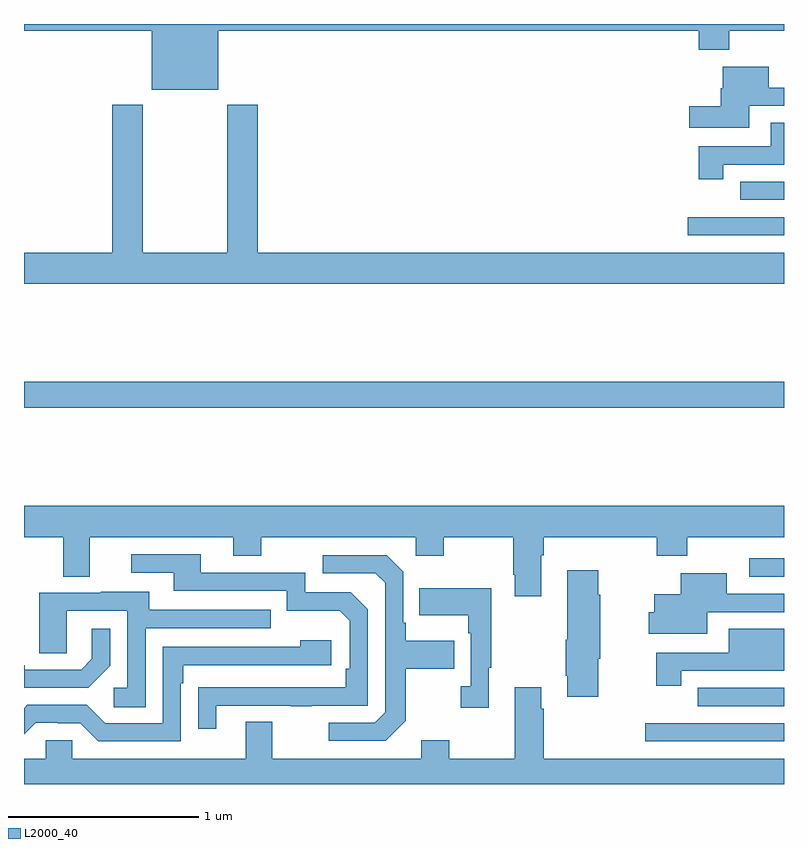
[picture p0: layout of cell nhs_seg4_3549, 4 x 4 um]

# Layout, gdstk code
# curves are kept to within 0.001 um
import gdstk
lib = gdstk.Library(unit=1e-6, precision=1e-09)
def R(c, l, rs):  # rectangles x0, y0, x1, y1
    for r in rs: c.add(gdstk.rectangle(r[:2], r[2:], *l))
def P(c, l, *ps):  # polygons
    for p in ps: c.add(gdstk.Polygon(p, *l))
L2000_40 = (2000, 40)

nhs_seg4_3549 = lib.new_cell('nhs_seg4_3549')
R(nhs_seg4_3549, L2000_40, [(302.271,749.124,303,749.22), (302.547,749.31,303,749.406), (302.817,749.991,303,750.088), (299,750.88,303,751.016), (302.493,751.788,303,751.884), (302.769,751.974,303,752.07)])
P(nhs_seg4_3549, L2000_40, [(300.022,752.864),(302.552,752.864),(302.552,752.765),(302.712,752.765),(302.712,752.864),(303,752.864),(303,752.9),(299,752.9),(299,752.864),(299.672,752.864),(299.672,752.555),(300.022,752.555)],
  [(302.818,752.469),(303,752.469),(303,752.565),(302.92,752.565),(302.92,752.674),(302.678,752.674),(302.678,752.562),(302.666,752.562),(302.666,752.468),(302.502,752.468),(302.502,752.354),(302.818,752.354)],
  [(303,751.696),(300.23,751.696),(300.23,752.476),(300.07,752.476),(300.07,751.696),(299.625,751.696),(299.625,752.476),(299.465,752.476),(299.465,751.696),(299,751.696),(299,751.532),(303,751.532)],
  [(302.68,752.16),(303,752.16),(303,752.38),(302.93,752.38),(302.93,752.256),(302.55,752.256),(302.55,752.082),(302.68,752.082)],
  [(299,750.2),(299.207,750.2),(299.207,749.992),(299.347,749.992),(299.347,750.2),(300.101,750.2),(300.101,750.101),(300.249,750.101),(300.249,750.2),(301.062,750.2),(301.062,750.101),(301.209,750.101),(301.209,750.2),(301.576,750.2),(301.576,750.001),(301.583,750.001),(301.583,749.889),(301.723,749.889),(301.723,750.104),(301.736,750.104),(301.736,750.2),(302.33,750.2),(302.33,750.101),(302.49,750.101),(302.49,750.2),(303,750.2),(303,750.364),(299,750.364)],
  [(300.013,749.313),(300.403,749.313),(300.403,749.308),(300.515,749.308),(300.515,749.313),(300.81,749.313),(300.81,749.82),(300.72,749.91),(300.48,749.91),(300.48,750.012),(299.929,750.012),(299.929,750.108),(299.565,750.108),(299.565,750.012),(299.789,750.012),(299.789,749.916),(300.384,749.916),(300.384,749.813),(300.661,749.813),(300.714,749.76),(300.714,749.506),(300.694,749.506),(300.694,749.409),(299.917,749.408),(299.917,749.19),(300.013,749.19)],
  [(301.009,749.233),(301.009,749.506),(301.265,749.506),(301.265,749.653),(301.009,749.653),(301.009,749.749),(300.996,749.749),(300.996,750.018),(300.909,750.105),(300.573,750.105),(300.573,750.009),(300.849,750.009),(300.9,749.958),(300.9,749.277),(300.846,749.223),(300.603,749.223),(300.603,749.127),(300.903,749.127)],
  [(302.022,749.559),(302.032,749.559),(302.032,749.895),(302.022,749.895),(302.022,750.025),(301.859,750.025),(301.859,749.659),(301.852,749.659),(301.852,749.47),(301.859,749.47),(301.859,749.358),(302.022,749.358)],
  [(302.596,749.805),(303,749.805),(303,749.901),(302.698,749.901),(302.698,750.01),(302.456,750.01),(302.456,749.899),(302.318,749.899),(302.318,749.804),(302.288,749.804),(302.288,749.69),(302.596,749.69)],
  [(301.447,749.513),(301.459,749.513),(301.459,749.929),(301.081,749.929),(301.081,749.789),(301.338,749.789),(301.338,749.693),(301.35,749.693),(301.35,749.414),(301.299,749.414),(301.299,749.301),(301.447,749.301)],
  [(299.64,749.721),(300.299,749.721),(300.299,749.817),(299.659,749.817),(299.659,749.911),(299.405,749.911),(299.405,749.907),(299.081,749.907),(299.081,749.587),(299.226,749.587),(299.226,749.811),(299.544,749.811),(299.544,749.406),(299.472,749.406),(299.472,749.305),(299.64,749.305)],
  [(299.454,749.522),(299.454,749.716),(299.357,749.716),(299.357,749.559),(299.3,749.502),(299.005,749.502),(299.005,749.525),(299,749.525),(299,749.406),(299.338,749.406)],
  [(302.458,749.496),(302.812,749.496),(302.812,749.495),(303,749.495),(303,749.716),(302.708,749.716),(302.708,749.592),(302.328,749.592),(302.328,749.418),(302.458,749.418)],
  [(299.826,749.429),(299.839,749.429),(299.839,749.526),(300.616,749.526),(300.616,749.656),(300.455,749.656),(300.455,749.622),(299.73,749.622),(299.73,749.22),(299.427,749.22),(299.331,749.316),(299.016,749.316),(299,749.3),(299,749.162),(299.061,749.223),(299.177,749.223),(299.177,749.22),(299.295,749.22),(299.391,749.124),(299.826,749.124)],
  [(303,749.032),(301.736,749.032),(301.736,749.297),(301.723,749.297),(301.723,749.41),(301.583,749.41),(301.583,749.032),(301.239,749.032),(301.239,749.131),(301.091,749.131),(301.091,749.032),(300.307,749.032),(300.307,749.227),(300.167,749.227),(300.167,749.032),(299.253,749.032),(299.253,749.13),(299.115,749.13),(299.115,749.032),(299,749.032),(299,748.9),(303,748.9)])

lib.write_gds('nhs_seg4_3549.gds')
